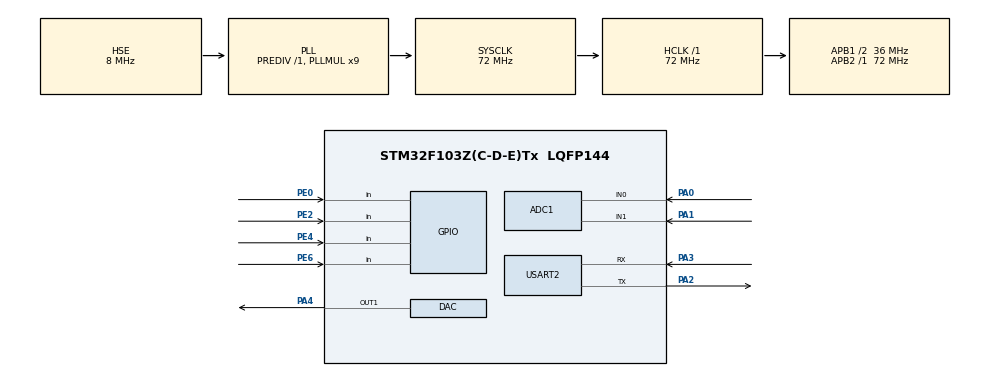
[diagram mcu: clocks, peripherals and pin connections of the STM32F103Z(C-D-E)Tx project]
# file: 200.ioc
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ADC1.Channel-0\#ChannelRegularConversion=ADC_CHANNEL_0
ADC1.Channel-1\#ChannelRegularConversion=ADC_CHANNEL_1
ADC1.ContinuousConvMode=DISABLE
ADC1.NbrOfConversion=2
ADC1.NbrOfConversionFlag=1
ADC1.Rank-0\#ChannelRegularConversion=1
ADC1.Rank-1\#ChannelRegularConversion=2
ADC1.SamplingTime-0\#ChannelRegularConversion=ADC_SAMPLETIME_55CYCLES_5
ADC1.SamplingTime-1\#ChannelRegularConversion=ADC_SAMPLETIME_55CYCLES_5
ADC1.master=1
Dma.ADC1.0.Direction=DMA_PERIPH_TO_MEMORY
Dma.ADC1.0.Instance=DMA1_Channel1
Dma.ADC1.0.MemDataAlignment=DMA_MDATAALIGN_WORD
Dma.ADC1.0.MemInc=DMA_MINC_ENABLE
Dma.ADC1.0.Mode=DMA_CIRCULAR
Dma.ADC1.0.PeriphDataAlignment=DMA_PDATAALIGN_WORD
Dma.ADC1.0.PeriphInc=DMA_PINC_DISABLE
Dma.ADC1.0.Priority=DMA_PRIORITY_HIGH
Dma.Request0=ADC1
Mcu.Family=STM32F1
Mcu.Name=STM32F103Z(C-D-E)Tx
Mcu.Package=LQFP144
NVIC.ADC1_2_IRQn=true\:14\:0\:true\:false\:true\:true\:true
NVIC.DMA1_Channel1_IRQn=true\:14\:0\:true\:false\:true\:false\:true
NVIC.PriorityGroup=NVIC_PRIORITYGROUP_4
NVIC.TIM2_IRQn=true\:0\:0\:false\:false\:true\:true\:true
NVIC.TIM3_IRQn=true\:15\:0\:true\:false\:true\:true\:true
OSC_IN.Mode=HSE-External-Oscillator
OSC_IN.Signal=RCC_OSC_IN
OSC_OUT.Mode=HSE-External-Oscillator
OSC_OUT.Signal=RCC_OSC_OUT
PA0-WKUP.Signal=ADCx_IN0
PA1.Signal=ADCx_IN1
PA2.Mode=Asynchronous
PA2.Signal=USART2_TX
PA3.Mode=Asynchronous
PA3.Signal=USART2_RX
PA4.Signal=COMP_DAC1_group
PE0.Signal=GPIO_Input
PE2.Signal=GPIO_Input
PE4.Signal=GPIO_Input
PE6.Signal=GPIO_Input
ProjectManager.HeapSize=0x200
ProjectManager.StackSize=0x400
ProjectManager.TargetToolchain=MDK-ARM V5.27
RCC.ADCPresc=RCC_ADCPCLK2_DIV6
RCC.AHBFreq_Value=72000000
RCC.APB1CLKDivider=RCC_HCLK_DIV2
RCC.APB1Freq_Value=36000000
RCC.APB1TimFreq_Value=72000000
RCC.APB2Freq_Value=72000000
RCC.APB2TimFreq_Value=72000000
RCC.HCLKFreq_Value=72000000
RCC.PLLMUL=RCC_PLL_MUL9
RCC.PLLSourceVirtual=RCC_PLLSOURCE_HSE
RCC.SYSCLKFreq_VALUE=72000000
RCC.SYSCLKSource=RCC_SYSCLKSOURCE_PLLCLK
RCC.USBFreq_Value=72000000
SH.ADCx_IN0.0=ADC1_IN0,IN0
SH.ADCx_IN1.0=ADC1_IN1,IN1
SH.COMP_DAC1_group.0=DAC_OUT1,DAC_OUT1
TIM2.Period=999
TIM2.Prescaler=729
TIM3.Period=999
TIM3.Prescaler=72
USART2.VirtualMode=VM_ASYNC
VP_SYS_VS_ND.Mode=No_Debug
VP_TIM2_VS_ClockSourceINT.Mode=Internal
VP_TIM3_VS_ClockSourceINT.Mode=Internal
board=custom

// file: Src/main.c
/* USER CODE BEGIN Header */
/**
  ******************************************************************************
  * @file           : main.c
  * @brief          : Main program body
  ******************************************************************************
  * @attention
  *
  * <h2><center>&copy; Copyright (c) 2020 STMicroelectronics.
  * All rights reserved.</center></h2>
  *
  * This software component is licensed by ST under BSD 3-Clause license,
  * the "License"; You may not use this file except in compliance with the
  * License. You may obtain a copy of the License at:
  *                        opensource.org/licenses/BSD-3-Clause
  *
  ******************************************************************************
  */
/* USER CODE END Header */

#include "main.h"
#include "adc.h"
#include "dac.h"
#include "dma.h"
#include "tim.h"
#include "usart.h"
#include "gpio.h"

/* USER CODE BEGIN Includes */
#include <stdio.h>
/* USER CODE END Includes */

/* USER CODE BEGIN PTD */
#define max(a, b)			(a>b? a:b)
#define min(a, b)			(a<b? a:b)
#define range(x, a, b)		(min(max(x, a), b))
#define exchange(a, b, tmp) (tmp=a, a=b, b=tmp)
#define myabs(x)			((x<0)? -x:x)

#define MIN_LIMIT 0

#define MAX_LIMIT 4000

typedef struct{
	float limit;		//输出限幅
	float target;		//目标输出量
	float feedback;		//实际输出量
	float Kp;
	float Ki;
	float Kd;
	float e_0;			//当前误差
	float e_1;			//上一次误差
	float sum_e;
}PID;

float pid_calc(PID *pid){
	float out;
	float ep, ei, ed;

	pid->e_0 = pid->target - pid->feedback;

	ep = pid->e_0;
	ei = pid->sum_e += pid->e_0;
	ed = pid->e_0  - pid->e_1;

	out = pid->Kp*ep + pid->Ki*ei + pid->Kd*ed;

	out = range(out, -pid->limit, pid->limit);

	pid->e_1 = pid->e_0;

	return out;
}

PID pid = {
	4000,	//输出限幅
	0,	//目标控制量
	0,	//反馈控制量

	0.006,	//Kp
	0.0055,	//Ki
	0.4,	//Kd

	0, 0, 0	//e
};
float	inc_val=0;
float	control_val=0;
/* USER CODE END PTD */

void SystemClock_Config(void);
/* USER CODE BEGIN PFP */
#define LEN_i 500
uint16_t lv_I[LEN_i];
uint16_t I_i=0;
uint32_t num_i=0;
uint16_t ping=0;
int ans=0;
/* USER CODE END PFP */

/* USER CODE BEGIN 0 */
uint16_t num=0;
uint32_t AD_DMA[2];

uint16_t pingjunzhi(){
	num_i-=lv_I[I_i];
	return (uint16_t)(num_i/LEN_i);
}

int fputc(int ch, FILE *f)
{
  HAL_UART_Transmit(&huart2, (uint8_t *)&ch, 1, 0xffff);
  return ch;
}

int fgetc(FILE *f)
{
  uint8_t ch = 0;
  HAL_UART_Receive(&huart2, &ch, 1, 0xffff);
  return ch;
}

uint16_t read_num(){
	uint16_t num=0;
	if(HAL_GPIO_ReadPin(GPIOE,GPIO_PIN_6)==1){
		num+=1;
	}
	if(HAL_GPIO_ReadPin(GPIOE,GPIO_PIN_4)==1){
		num+=2;
	}
	if(HAL_GPIO_ReadPin(GPIOE,GPIO_PIN_2)==1){
		num+=4;
	}
	if(HAL_GPIO_ReadPin(GPIOE,GPIO_PIN_0)==1){
		num+=8;
	}
	return num;
}
/* USER CODE END 0 */

int main(void)
{

  /* MCU Configuration--------------------------------------------------------*/

  /* Reset of all peripherals, Initializes the Flash interface and the Systick. */
  HAL_Init();

  /* Configure the system clock */
  SystemClock_Config();

  /* Initialize all configured peripherals */
  MX_GPIO_Init();
  MX_DMA_Init();
  MX_ADC1_Init();
  MX_DAC_Init();
  MX_TIM3_Init();
  MX_USART2_UART_Init();
  MX_TIM2_Init();
  /* USER CODE BEGIN 2 */
	HAL_TIM_Base_Start_IT(&htim3);
	HAL_TIM_Base_Start_IT(&htim2);
	HAL_ADCEx_Calibration_Start(&hadc1);
  /* USER CODE END 2 */

  /* Infinite loop */
  while (1)
  {

  }
}

void SystemClock_Config(void)
{
  RCC_OscInitTypeDef RCC_OscInitStruct = {0};
  RCC_ClkInitTypeDef RCC_ClkInitStruct = {0};
  RCC_PeriphCLKInitTypeDef PeriphClkInit = {0};

  /** Initializes the CPU, AHB and APB busses clocks
  */
  RCC_OscInitStruct.OscillatorType = RCC_OSCILLATORTYPE_HSE;
  RCC_OscInitStruct.HSEState = RCC_HSE_ON;
  RCC_OscInitStruct.HSEPredivValue = RCC_HSE_PREDIV_DIV1;
  RCC_OscInitStruct.HSIState = RCC_HSI_ON;
  RCC_OscInitStruct.PLL.PLLState = RCC_PLL_ON;
  RCC_OscInitStruct.PLL.PLLSource = RCC_PLLSOURCE_HSE;
  RCC_OscInitStruct.PLL.PLLMUL = RCC_PLL_MUL9;
  if (HAL_RCC_OscConfig(&RCC_OscInitStruct) != HAL_OK)
  {
    Error_Handler();
  }
  /** Initializes the CPU, AHB and APB busses clocks
  */
  RCC_ClkInitStruct.ClockType = RCC_CLOCKTYPE_HCLK|RCC_CLOCKTYPE_SYSCLK
                              |RCC_CLOCKTYPE_PCLK1|RCC_CLOCKTYPE_PCLK2;
  RCC_ClkInitStruct.SYSCLKSource = RCC_SYSCLKSOURCE_PLLCLK;
  RCC_ClkInitStruct.AHBCLKDivider = RCC_SYSCLK_DIV1;
  RCC_ClkInitStruct.APB1CLKDivider = RCC_HCLK_DIV2;
  RCC_ClkInitStruct.APB2CLKDivider = RCC_HCLK_DIV1;

  if (HAL_RCC_ClockConfig(&RCC_ClkInitStruct, FLASH_LATENCY_2) != HAL_OK)
  {
    Error_Handler();
  }
  PeriphClkInit.PeriphClockSelection = RCC_PERIPHCLK_ADC;
  PeriphClkInit.AdcClockSelection = RCC_ADCPCLK2_DIV6;
  if (HAL_RCCEx_PeriphCLKConfig(&PeriphClkInit) != HAL_OK)
  {
    Error_Handler();
  }
}

/* USER CODE BEGIN 4 */
void HAL_TIM_PeriodElapsedCallback(TIM_HandleTypeDef *htim)    //定时器中断回调
{
		if(htim==&htim3){
			HAL_ADC_Start_DMA(&hadc1, AD_DMA, 2);
			if(num==1){
				ans=450;
			}else if(num==2){
				ans=820;
			}else if(num==3){
				ans=1190;
			}else if(num==4){
				ans=1545;
			}else if(num==5){
				ans=1900;
			}else if(num==6){
				ans=2273;
			}else if(num==7){
				ans=2640;
			}else if(num==8){
				ans=3000;
			}else if(num==9){
				ans=3285;
			}else if(num==0){
				ans=3510;
			}
////				ans=450;
////				ans=820;
////			ans=1190;
////				ans=1545;
////			ans=1900;
////				ans=2273;
////			ans=2640;
////				ans=3000;
////				ans=3285;
//				ans=3510;
				pid.target=ans;
				inc_val = pid_calc(&pid);
				control_val = inc_val;
				control_val = range(control_val, MIN_LIMIT, MAX_LIMIT);
				HAL_DAC_SetValue(&hdac, DAC_CHANNEL_1, DAC_ALIGN_12B_R, control_val);

		//		num=read_num();
		//		printf("n0.val=%d%c%c%c", (int)num, 0xff, 0xff, 0xff);

				lv_I[I_i]=AD_DMA[0];
				num_i+=AD_DMA[0];
				I_i++;
				if(I_i>=LEN_i){
					I_i=0;
				}
				ping=pingjunzhi();
				pid.feedback=ping;
		//		HAL_DAC_SetValue(&hdac, DAC_CHANNEL_1, DAC_ALIGN_12B_R, 420);//1
		//		HAL_DAC_SetValue(&hdac, DAC_CHANNEL_1, DAC_ALIGN_12B_R, 750);//2
		//		HAL_DAC_SetValue(&hdac, DAC_CHANNEL_1, DAC_ALIGN_12B_R, 1100);//3
		//		HAL_DAC_SetValue(&hdac, DAC_CHANNEL_1, DAC_ALIGN_12B_R, 1470);//4
		//    HAL_DAC_SetValue(&hdac, DAC_CHANNEL_1, DAC_ALIGN_12B_R, 1845);//5
		//    HAL_DAC_SetValue(&hdac, DAC_CHANNEL_1, DAC_ALIGN_12B_R, 2230);//6
		//			HAL_DAC_SetValue(&hdac, DAC_CHANNEL_1, DAC_ALIGN_12B_R, 2640);//7
		//			HAL_DAC_SetValue(&hdac, DAC_CHANNEL_1, DAC_ALIGN_12B_R, 3045);//8
		//			HAL_DAC_SetValue(&hdac, DAC_CHANNEL_1, DAC_ALIGN_12B_R, 3045);
				HAL_DAC_Start(&hdac,DAC_CHANNEL_1);
		}
		if(htim==&htim2){
				num=read_num();
				printf("n0.val=%d%c%c%c", (int)control_val, 0xff, 0xff, 0xff);
				printf("add 1,0,%d%c%c%c", (int)control_val/21, 0xff, 0xff, 0xff);
				printf("n2.val=%d%c%c%c", (int)ping, 0xff, 0xff, 0xff);
				printf("add 5,0,%d%c%c%c", (int)ping/21, 0xff, 0xff, 0xff);
				printf("n1.val=%d%c%c%c", (int)ans, 0xff, 0xff, 0xff);

		}
}

/* USER CODE END 4 */

void Error_Handler(void)
{
}

/************************ (C) COPYRIGHT STMicroelectronics *****END OF FILE****/
